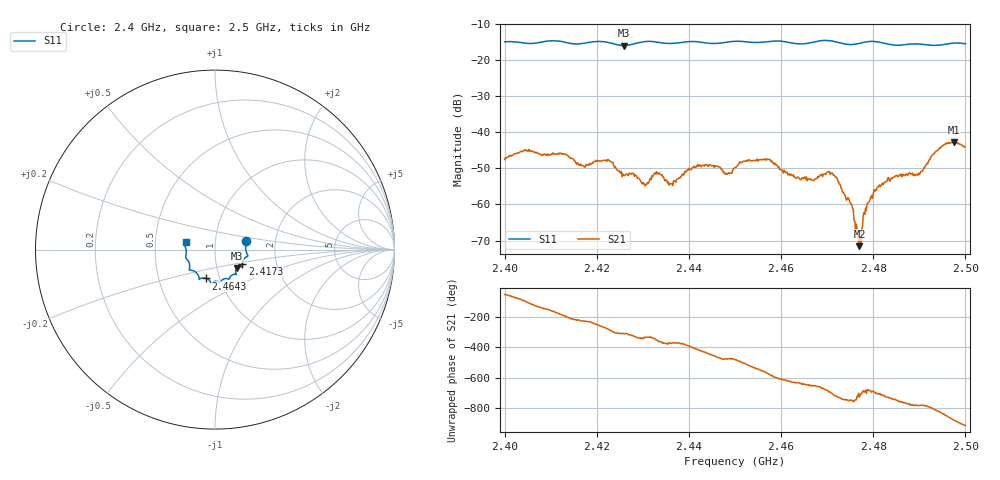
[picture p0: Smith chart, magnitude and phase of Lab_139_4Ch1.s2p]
# Hz S RI R 50
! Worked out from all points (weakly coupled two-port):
!   601 points, 2.4 GHz to 2.5 GHz, reference 50 ohm
!   highest |S21| = -42.66 dB at 2.4975 GHz (marker M1); lowest = -71.6 dB at 2.477 GHz (marker M2)
!   lowest |S11| = -15.9 dB at 2.4258 GHz (marker M3), VSWR 1.38, Z = 62.3 - j13.3 ohm
!   |S11| at or under -10 dB: start of sweep to end of sweep
!   S12 and S22 are empty: the file has one direction only
!   S11 on the Smith chart (normalised r, x): 2.4 GHz: 1.41, +0.14; 2.4173 GHz: 1.34, -0.23; 2.4643 GHz: 0.86, -0.28; 2.5 GHz: 0.72, +0.06
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2.4e9  0.1734 0.049  0.00283 -0.00311  0 0  0 0
2.404833e9  0.171 0.0156  -0.000758 -0.00546  0 0  0 0
2.416667e9  0.1528 -0.0744  -0.00252 0.00236  0 0  0 0
2.417333e9  0.152 -0.0819  -0.00231 0.00236  0 0  0 0
2.4225e9  0.149 -0.0944  0.000565 0.00414  0 0  0 0
2.425833e9  0.1217 -0.1037  0.00156 0.00202  0 0  0 0
2.430667e9  0.1185 -0.1383  0.00165 0.00089  0 0  0 0
2.433333e9  0.1128 -0.1372  0.00265 3.7e-05  0 0  0 0
2.436e9  0.0942 -0.1429  0.00189 -0.000398  0 0  0 0
2.441667e9  0.0754 -0.1644  0.00212 -0.00259  0 0  0 0
2.45e9  0.0291 -0.1809  -0.00168 -0.00278  0 0  0 0
2.457167e9  -0.0151 -0.1808  -0.00351 0.00232  0 0  0 0
2.464333e9  -0.0498 -0.1607  0.000388 0.00216  0 0  0 0
2.466667e9  -0.076 -0.1594  0.000978 0.00194  0 0  0 0
2.471667e9  -0.0878 -0.1592  0.00247 -8.97e-05  0 0  0 0
2.475167e9  -0.1082 -0.1248  0.000908 -0.000498  0 0  0 0
2.477e9  -0.1265 -0.116  0.00026 -4.52e-05  0 0  0 0
2.479167e9  -0.1414 -0.1147  0.000926 0.000596  0 0  0 0
2.483333e9  -0.1409 -0.0897  0.00228 -0.00061  0 0  0 0
2.489667e9  -0.163 -0.0423  0.00103 -0.00232  0 0  0 0
2.4975e9  -0.1705 0.0295  -0.00708 -0.00202  0 0  0 0
2.5e9  -0.1641 0.0428  -0.00592 0.00205  0 0  0 0
